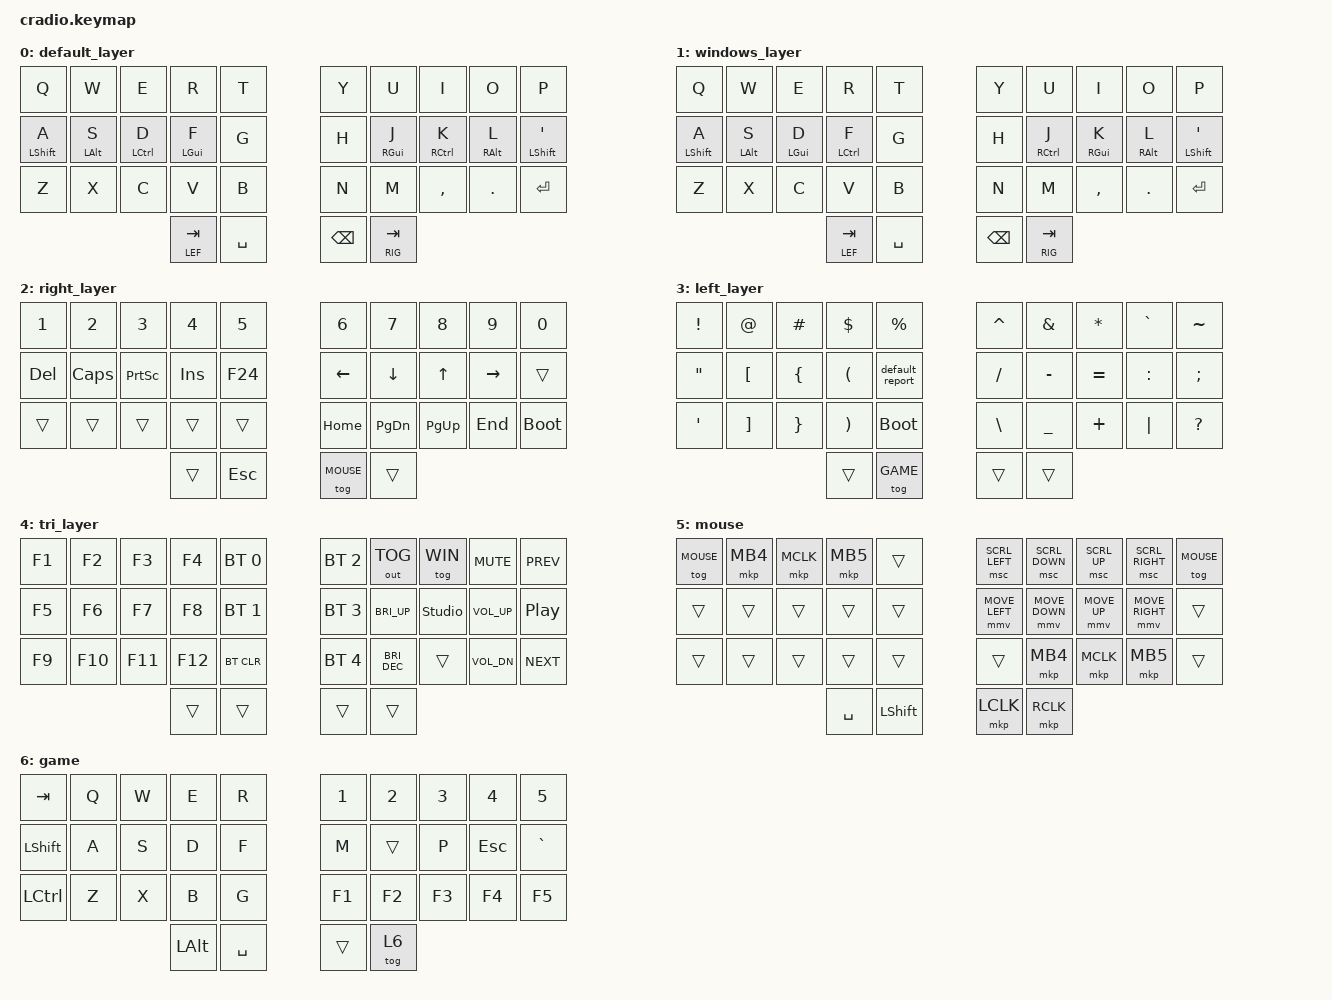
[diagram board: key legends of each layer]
// Copyright (c) 2022 The ZMK Contributors
// SPDX-License-Identifier: MIT

#define ZMK_MOUSE_DEFAULT_MOVE_VAL 2500  // 600
#define ZMK_MOUSE_DEFAULT_SCRL_VAL 20    // 10

#include <dt-bindings/zmk/mouse.h>
#include <behaviors.dtsi>
#include <dt-bindings/zmk/bt.h>
#include <dt-bindings/zmk/keys.h>
#include <dt-bindings/zmk/outputs.h>
#include <dt-bindings/zmk/pointing.h>
#include <dt-bindings/zmk/pointing.h>
#include <dt-bindings/zmk/pointing.h>

#define MAC 0
#define WIN 1
#define RIG 2
#define LEF 3
#define TRI 4
#define MOUSE 5
#define GAME 6

/ {
    chosen { zmk,charmap = &charmap_us; };

    behaviors {
        ht: hold_tap {
            label = "hold_tap";
            compatible = "zmk,behavior-hold-tap";
            #binding-cells = <2>;
            flavor = "tap-preferred";
            tapping-term-ms = <220>;
            quick-tap-ms = <150>;
            global-quick-tap;
            bindings = <&kp>, <&kp>;
        };

        mmv {
            acceleration-exponent = <1>;      // 1
            time-to-max-speed-ms = <300>;    // 40
            delay-ms = <0>;                   // 0
        };

        msc {
            acceleration-exponent = <0>;      // 0
            time-to-max-speed-ms = <40>;      // 500
            delay-ms = <0>;                   // 10
        };
    };

    conditional_layers {
        compatible = "zmk,conditional-layers";

        tri_layer {
            if-layers = <RIG LEF>;
            then-layer = <TRI>;
        };
    };

    keymap {
        compatible = "zmk,keymap";

        default_layer {
            bindings = <
&kp Q         &kp W       &kp E        &kp R        &kp T        &kp Y     &kp U        &kp I        &kp O       &kp P
&ht LSHIFT A  &ht LALT S  &ht LCTRL D  &ht LGUI F   &kp G        &kp H     &ht RGUI J   &ht RCTRL K  &ht RALT L  &ht LSHIFT SQT
&kp Z         &kp X       &kp C        &kp V        &kp B        &kp N     &kp M        &kp COMMA    &kp DOT     &kp ENTER
                                       &lt LEF TAB  &kp SPACE    &kp BSPC  &lt RIG TAB
            >;
        };

        windows_layer {
            bindings = <
&kp Q         &kp W       &kp E       &kp R        &kp T        &kp Y     &kp U        &kp I       &kp O       &kp P
&ht LSHIFT A  &ht LALT S  &ht LGUI D  &ht LCTRL F  &kp G        &kp H     &ht RCTRL J  &ht RGUI K  &ht RALT L  &ht LSHIFT SQT
&kp Z         &kp X       &kp C       &kp V        &kp B        &kp N     &kp M        &kp COMMA   &kp DOT     &kp ENTER
                                      &lt LEF TAB  &kp SPACE    &kp BSPC  &lt RIG TAB
            >;
        };

        right_layer {
            bindings = <
&kp N1   &kp N2    &kp N3     &kp N4   &kp N5     &kp N6      &kp N7     &kp N8     &kp N9     &kp N0
&kp DEL  &kp CAPS  &kp PSCRN  &kp INS  &kp F24    &kp LEFT    &kp DOWN   &kp UP     &kp RIGHT  &trans
&trans   &trans    &trans     &trans   &trans     &kp HOME    &kp PG_DN  &kp PG_UP  &kp END    &bootloader
                              &trans   &kp ESC    &tog MOUSE  &trans
            >;
        };

        left_layer {
            bindings = <
&kp EXCL  &kp AT    &kp HASH  &kp DLLR  &kp PRCNT          &kp CARET  &kp AMPS   &kp ASTRK  &kp GRAVE  &kp TILDE
&kp DQT   &kp LBKT  &kp LBRC  &kp LPAR  &default_report    &kp FSLH   &kp MINUS  &kp EQUAL  &kp COLON  &kp SEMI
&kp SQT   &kp RBKT  &kp RBRC  &kp RPAR  &bootloader        &kp BSLH   &kp UNDER  &kp PLUS   &kp PIPE   &kp QMARK
                              &trans    &tog GAME          &trans     &trans
            >;
        };

        tri_layer {
            bindings = <
&kp F1  &kp F2   &kp F3   &kp F4   &bt BT_SEL 0    &bt BT_SEL 2  &out OUT_TOG   &tog WIN        &kp C_MUTE    &kp C_PREV
&kp F5  &kp F6   &kp F7   &kp F8   &bt BT_SEL 1    &bt BT_SEL 3  &kp C_BRI_UP   &studio_unlock  &kp C_VOL_UP  &kp C_PP
&kp F9  &kp F10  &kp F11  &kp F12  &bt BT_CLR      &bt BT_SEL 4  &kp C_BRI_DEC  &trans          &kp C_VOL_DN  &kp C_NEXT
                          &trans   &trans          &trans        &trans
            >;
        };

        mouse {
            bindings = <
&tog MOUSE  &mkp MB4  &mkp MCLK  &mkp MB5   &trans        &msc SCRL_LEFT  &msc SCRL_DOWN  &msc SCRL_UP  &msc SCRL_RIGHT  &tog MOUSE
&trans      &trans    &trans     &trans     &trans        &mmv MOVE_LEFT  &mmv MOVE_DOWN  &mmv MOVE_UP  &mmv MOVE_RIGHT  &trans
&trans      &trans    &trans     &trans     &trans        &trans          &mkp MB4        &mkp MCLK     &mkp MB5         &trans
                                 &kp SPACE  &kp LSHIFT    &mkp LCLK       &mkp RCLK
            >;
        };

        game {
            bindings = <
&kp TAB     &kp Q  &kp W  &kp E     &kp R        &kp N1  &kp N2  &kp N3  &kp N4   &kp N5
&kp LSHIFT  &kp A  &kp S  &kp D     &kp F        &kp M   &trans  &kp P   &kp ESC  &kp GRAVE
&kp LCTRL   &kp Z  &kp X  &kp B     &kp G        &kp F1  &kp F2  &kp F3  &kp F4   &kp F5
                          &kp LALT  &kp SPACE    &trans  &tog 6
            >;
        };
    };
};
